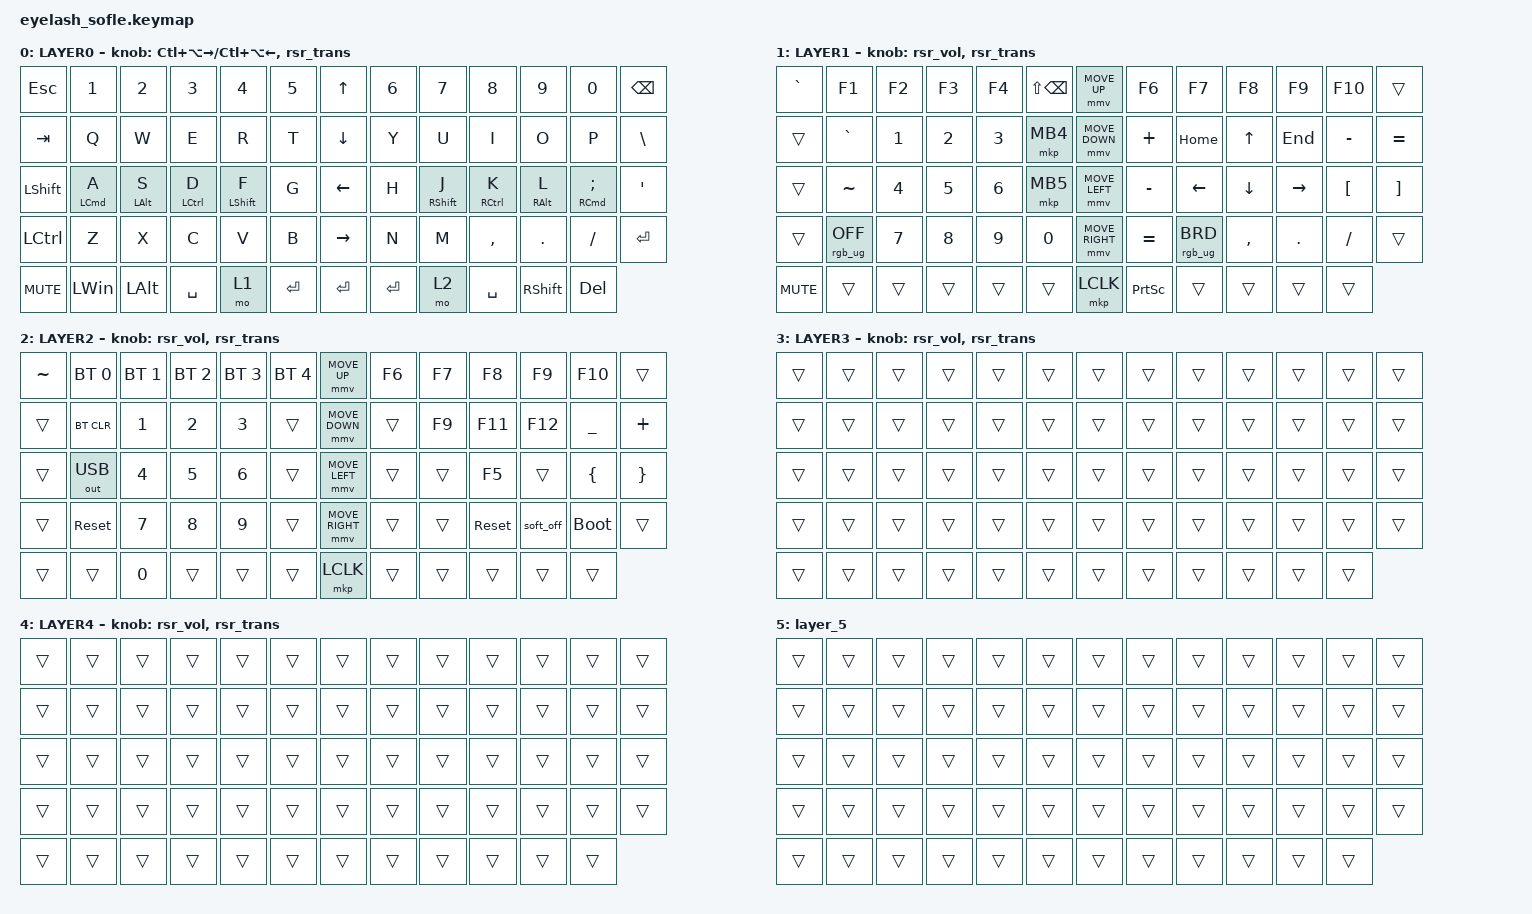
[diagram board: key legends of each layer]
#define ZMK_POINTING_DEFAULT_MOVE_VAL 1200  // 600
#define ZMK_POINTING_DEFAULT_SCRL_VAL 25   // 10

#include <input/processors.dtsi>
#include <zephyr/dt-bindings/input/input-event-codes.h>
#include <behaviors/runtime-sensor-rotate.dtsi>
#include <behaviors.dtsi>
#include <dt-bindings/zmk/bt.h>
#include <dt-bindings/zmk/keys.h>
#include <dt-bindings/zmk/outputs.h>
#include <dt-bindings/zmk/pointing.h>
#include <dt-bindings/zmk/rgb.h>

&mmv_input_listener { input-processors = <&zip_xy_scaler 2 1>; };

&msc_input_listener { input-processors = <&zip_scroll_scaler 2 1>; };

&msc {
    acceleration-exponent = <1>;      // 0
    time-to-max-speed-ms = <100>;       // 300
    delay-ms = <0>;                   // 0
};

&mmv {
    time-to-max-speed-ms = <500>;
    acceleration-exponent = <1>;
    trigger-period-ms = <16>;
};

&soft_off { hold-time-ms = <2000>; };

/ {
    scroll_encoder: scroll_encoder {
        compatible = "zmk,behavior-sensor-rotate";
        #sensor-binding-cells = <0>;
        bindings = <&msc SCRL_DOWN>, <&msc SCRL_UP>;

        tap-ms = <100>;
    };

    hml: hml {
        compatible = "zmk,behavior-hold-tap";
        label = "HML";
        bindings = <&kp>, <&kp>;

        #binding-cells = <2>;
        tapping-term-ms = <280>;
        quick-tap-ms = <175>;
        flavor = "balanced";
        hold-trigger-on-release;
        hold-trigger-key-positions = <20 21 22 23 24 25 38 37 36 35 34 33 46 47 48 49 50 51 59 60 61 62 63 12 11 10 9 8 7>;
        require-prior-idle-ms = <150>;
    };

    hmr: hmr {
        compatible = "zmk,behavior-hold-tap";
        label = "HMR";
        bindings = <&kp>, <&kp>;

        #binding-cells = <2>;
        tapping-term-ms = <280>;
        quick-tap-ms = <175>;
        flavor = "balanced";
        hold-trigger-on-release;
        hold-trigger-key-positions = <18 17 16 15 14 13 26 27 28 30 29 31 44 43 42 41 40 39 57 56 55 54 53 5 4 3 2 1 0>;
        require-prior-idle-ms = <150>;
    };

    behaviors {
        rsr_vol: rsr_vol {
            compatible = "zmk,behavior-runtime-sensor-rotate";
            #sensor-binding-cells = <0>;
            tap-ms = <5>;
            cw-binding = <&kp C_VOL_UP>;
            ccw-binding = <&kp C_VOL_DN>;
        };

        rsr_trans: rsr_trans {
            compatible = "zmk,behavior-runtime-sensor-rotate";
            #sensor-binding-cells = <0>;
            tap-ms = <0>;
        };
    };

    combos {
        compatible = "zmk,combos";

        softoff {
            bindings = <&soft_off>;
            key-positions = <14 28 40>;
        };

        rack_01 {
            bindings = <&kp LEFT_BRACE>;
            key-positions = <15 16>;
        };

        rack_02 {
            bindings = <&kp RIGHT_BRACE>;
            key-positions = <22 23>;
        };

        rack3 {
            bindings = <&kp LEFT_BRACKET>;
            key-positions = <28 29>;
        };

        rack4 {
            bindings = <&kp RIGHT_BRACKET>;
            key-positions = <35 36>;
        };
    };

    macros {
        SHIFT_MCLK: SHIFT_MCLK {
            compatible = "zmk,behavior-macro";
            #binding-cells = <0>;
            bindings =
                <&macro_press>,
                <&kp LEFT_SHIFT>,
                <&macro_press>,
                <&mkp MB3>,
                <&macro_pause_for_release>,
                <&macro_release>,
                <&kp LEFT_SHIFT &mkp MB3>;

            label = "SHIFT_MCLK";
        };
    };

    keymap {
        compatible = "zmk,keymap";

        layer0 {
            bindings = <
&kp ESC         &kp N1        &kp N2        &kp N3        &kp N4         &kp N5       &kp UP_ARROW     &kp N6     &kp N7         &kp N8        &kp N9           &kp N0          &kp BACKSPACE
&kp TAB         &kp Q         &kp W         &kp E         &kp R          &kp T        &kp DOWN_ARROW   &kp Y      &kp U          &kp I         &kp O            &kp P           &kp BSLH
&kp LEFT_SHIFT  &hml LCMD A   &hml LALT S   &hml LCTRL D  &hml LSHIFT F  &kp G        &kp LEFT_ARROW   &kp H      &hmr RSHIFT J  &hmr RCTRL K  &hmr RALT L      &hmr RCMD SEMI  &kp APOS
&kp LCTRL       &kp Z         &kp X         &kp C         &kp V          &kp B        &kp RIGHT_ARROW  &kp N      &kp M          &kp COMMA     &kp DOT          &kp FSLH        &kp ENTER
&kp C_MUTE      &kp LEFT_WIN  &kp LEFT_ALT  &kp SPACE     &mo 1          &kp ENTER    &kp ENTER        &kp ENTER  &mo 2          &kp SPACE     &kp RIGHT_SHIFT  &kp DELETE
            >;

            sensor-bindings =
                <&inc_dec_kp LC(LA(RIGHT)) LC(LA(LEFT))>,
                <&rsr_trans>;

            display-name = "LAYER0";
        };

        layer_1 {
            bindings = <
&kp GRAVE   &kp F1           &kp F2        &kp F3        &kp F4        &kp LS(BACKSPACE)    &mmv MOVE_UP     &kp F6           &kp F7           &kp F8     &kp F9     &kp F10           &trans
&trans      &kp GRAVE        &kp NUMBER_1  &kp NUMBER_2  &kp NUMBER_3  &mkp MB4             &mmv MOVE_DOWN   &kp PLUS         &kp HOME         &kp UP     &kp END    &kp MINUS         &kp EQUAL
&trans      &kp TILDE        &kp NUMBER_4  &kp N5        &kp NUMBER_6  &mkp MB5             &mmv MOVE_LEFT   &kp MINUS        &kp LEFT         &kp DOWN   &kp RIGHT  &kp LEFT_BRACKET  &kp RIGHT_BRACKET
&trans      &rgb_ug RGB_OFF  &kp N7        &kp N8        &kp N9        &kp N0               &mmv MOVE_RIGHT  &kp EQUAL        &rgb_ug RGB_BRD  &kp COMMA  &kp DOT    &kp FSLH          &trans
&kp C_MUTE  &trans           &trans        &trans        &trans        &trans               &mkp LCLK        &kp PRINTSCREEN  &trans           &trans     &trans     &trans
            >;

            sensor-bindings = <&rsr_vol &rsr_trans>;
            display-name = "LAYER1";
        };

        layer_2 {
            bindings = <
&kp TILDE  &bt BT_SEL 0  &bt BT_SEL 1  &bt BT_SEL 2  &bt BT_SEL 3  &bt BT_SEL 4    &mmv MOVE_UP     &kp F6  &kp F7  &kp F8      &kp F9     &kp F10      &trans
&trans     &bt BT_CLR    &kp NUMBER_1  &kp NUMBER_2  &kp NUMBER_3  &trans          &mmv MOVE_DOWN   &trans  &kp F9  &kp F11     &kp F12    &kp UNDER    &kp PLUS
&trans     &out OUT_USB  &kp NUMBER_4  &kp NUMBER_5  &kp NUMBER_6  &trans          &mmv MOVE_LEFT   &trans  &trans  &kp F5      &trans     &kp LBRC     &kp RBRC
&trans     &sys_reset    &kp NUMBER_7  &kp NUMBER_8  &kp NUMBER_9  &trans          &mmv MOVE_RIGHT  &trans  &trans  &sys_reset  &soft_off  &bootloader  &trans
&trans     &trans        &kp NUMBER_0  &trans        &trans        &trans          &mkp LCLK        &trans  &trans  &trans      &trans     &trans
            >;

            display-name = "LAYER2";
            sensor-bindings = <&rsr_vol &rsr_trans>;
        };

        layer_3 {
            bindings = <
&trans  &trans  &trans  &trans  &trans  &trans    &trans  &trans  &trans  &trans  &trans  &trans  &trans
&trans  &trans  &trans  &trans  &trans  &trans    &trans  &trans  &trans  &trans  &trans  &trans  &trans
&trans  &trans  &trans  &trans  &trans  &trans    &trans  &trans  &trans  &trans  &trans  &trans  &trans
&trans  &trans  &trans  &trans  &trans  &trans    &trans  &trans  &trans  &trans  &trans  &trans  &trans
&trans  &trans  &trans  &trans  &trans  &trans    &trans  &trans  &trans  &trans  &trans  &trans
            >;

            display-name = "LAYER3";
            sensor-bindings = <&rsr_vol &rsr_trans>;
        };

        layer_4 {
            bindings = <
&trans  &trans  &trans  &trans  &trans  &trans    &trans  &trans  &trans  &trans  &trans  &trans  &trans
&trans  &trans  &trans  &trans  &trans  &trans    &trans  &trans  &trans  &trans  &trans  &trans  &trans
&trans  &trans  &trans  &trans  &trans  &trans    &trans  &trans  &trans  &trans  &trans  &trans  &trans
&trans  &trans  &trans  &trans  &trans  &trans    &trans  &trans  &trans  &trans  &trans  &trans  &trans
&trans  &trans  &trans  &trans  &trans  &trans    &trans  &trans  &trans  &trans  &trans  &trans
            >;

            display-name = "LAYER4";
            sensor-bindings = <&rsr_vol &rsr_trans>;
        };

        layer_5 {
            bindings = <
&trans  &trans  &trans  &trans  &trans  &trans    &trans  &trans  &trans  &trans  &trans  &trans  &trans
&trans  &trans  &trans  &trans  &trans  &trans    &trans  &trans  &trans  &trans  &trans  &trans  &trans
&trans  &trans  &trans  &trans  &trans  &trans    &trans  &trans  &trans  &trans  &trans  &trans  &trans
&trans  &trans  &trans  &trans  &trans  &trans    &trans  &trans  &trans  &trans  &trans  &trans  &trans
&trans  &trans  &trans  &trans  &trans  &trans    &trans  &trans  &trans  &trans  &trans  &trans
            >;
        };
    };

    conditional_layers {
        compatible = "zmk,conditional-layers";

        layer3 {
            if-layers = <2 1>;
            then-layer = <3>;
        };
    };
};
